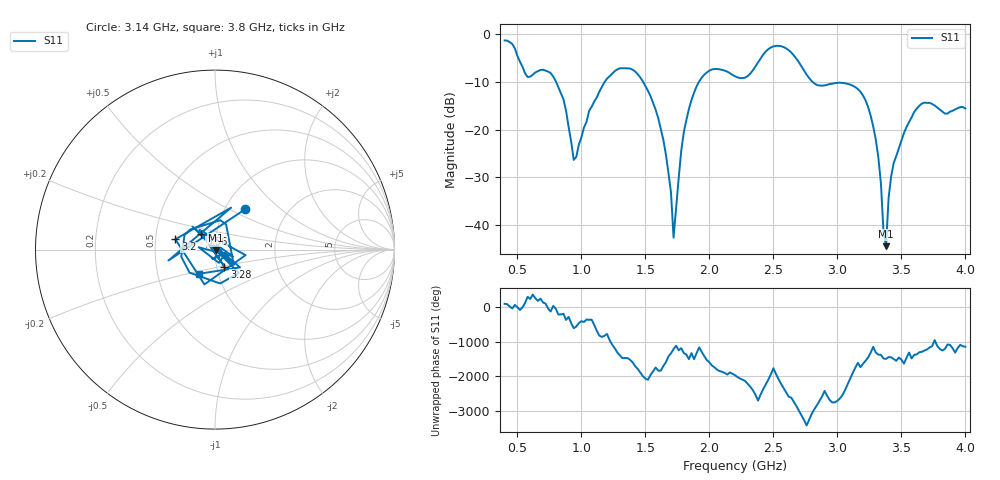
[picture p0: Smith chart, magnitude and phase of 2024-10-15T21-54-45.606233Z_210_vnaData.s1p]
! Created with skrf (http://scikit-rf.org).
# Hz S RI R 50.0
!freq ReS11 ImS11
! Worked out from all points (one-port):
!   181 points, 400 MHz to 4 GHz, reference 50 ohm
!   lowest |S11| = -44.4 dB at 3.38 GHz (marker M1), VSWR 1.01, Z = 50.4 - j0.486 ohm
!   |S11| at or under -10 dB: 802.7 MHz to 1.181 GHz (378.7 MHz wide, 38.2 % of centre); 1.482 GHz to 1.918 GHz (435.5 MHz wide, 25.6 % of centre); 2.807 GHz to end of sweep
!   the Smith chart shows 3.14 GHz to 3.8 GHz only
!   S11 on the Smith chart (normalised r, x): 3.14 GHz: 1.24, +0.60; 3.2 GHz: 0.63, +0.08; 3.28 GHz: 1.09, -0.21; 3.56 GHz: 0.84, +0.15; 3.8 GHz: 0.81, -0.22
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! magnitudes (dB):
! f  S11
! 400 MHz  -1.3
! 860 MHz  -13.6
! 940 MHz  -26.3
! 1.06 GHz  -16.1
! 1.3 GHz  -7.1
! 1.44 GHz  -8.4
! 1.58 GHz  -15.8
! 1.66 GHz  -25.2
! 1.7 GHz  -33.2
! 1.72 GHz  -42.6
! 1.76 GHz  -30.2
! 1.82 GHz  -18.0
! 1.92 GHz  -9.9
! 2.2 GHz  -8.8
! 2.5 GHz  -2.5
! 2.66 GHz  -4.4
! 2.84 GHz  -10.6
! 3.1 GHz  -10.5
! 3.14 GHz  -11.1
! 3.2 GHz  -12.8
! 3.28 GHz  -19.3
! 3.32 GHz  -25.8
! 3.36 GHz  -41.3
! 3.38 GHz  -44.4
! 3.42 GHz  -29.8
! 3.56 GHz  -18.4
! 3.8 GHz  -15.8
! 4 GHz  -15.5
